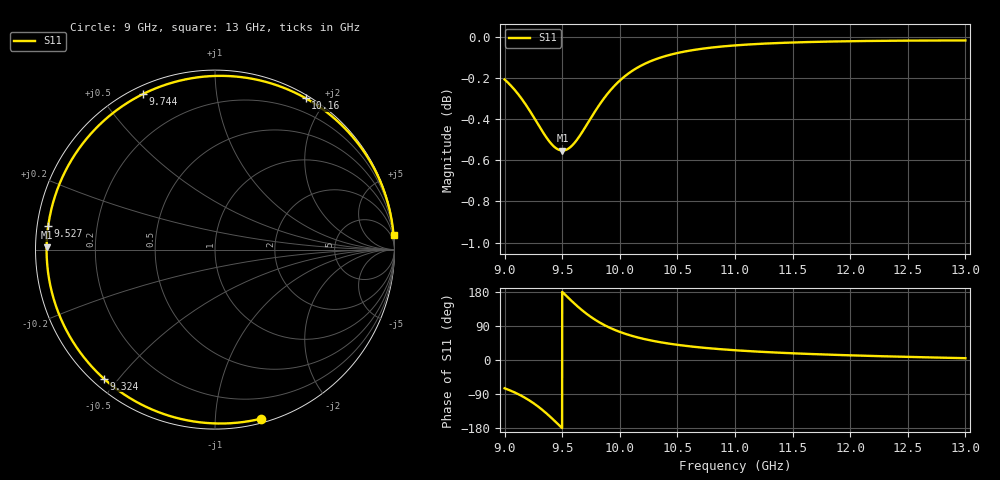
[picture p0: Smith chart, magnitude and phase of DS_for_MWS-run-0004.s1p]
! TOUCHSTONE file generated by CST DESIGN STUDIO
! Date and time: Tue Feb  4 12:56:05 2025
! Project name: C:\Work\MatlabApps\UnitCellOptimizationMatlab\CST\unitcell.cst
! Tree item: Tasks\Sweep1\SPara1\S-Parameters
! Header version: 2024
! Port assignment regex: !\s*Touchstone port\s*([0-9]+)\s*=\s*(CST MWS port|CST DES external port|CST DES block port)\s*(.+)\s* \(\"(.*)\"\)(\s*mode\s*([0-9]+))?.*
! Touchstone port assignment:
! Touchstone port 1 = CST DES external port 1 ("")
# GHz S MA R 50
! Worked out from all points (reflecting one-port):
!   4001 points, 9 GHz to 13 GHz, reference 50 ohm
!   lowest |S11| = -0.6 dB at 9.502 GHz (marker M1), VSWR 31.45, Z = 1.59 + j0.315 ohm
!   phase of S11 starts at -75 deg and turns -281 deg over the sweep
!   S11 on the Smith chart (normalised r, x): 9 GHz: 0.03, -1.31; 9.324 GHz: 0.03, -0.46; 9.527 GHz: 0.03, +0.07; 9.744 GHz: 0.03, +0.64; 10.16 GHz: 0.03, +1.76; 13 GHz: 1, +24
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9  0.9765 -74.6
9.085  0.971 -85.3
9.187  0.9625 -101.5
9.258  0.9556 -115.5
9.324  0.9489 -130.8
9.371  0.9446 -142.9
9.42  0.941 -156.5
9.461  0.9391 -168.5
9.5  0.9384 179.9
9.502  0.9384 179.3
9.527  0.9386 171.8
9.58  0.9407 156.3
9.64  0.9451 139.7
9.691  0.9498 126.8
9.744  0.9551 114.7
9.796  0.9602 104.3
9.854  0.9655 94.1
9.926  0.9711 83.3
10  0.9759 74.1
10.161  0.9832 59.1
10.315  0.9877 48.9
10.5  0.991 40.1
10.722  0.9935 32.5
11  0.9953 25.7
11.5  0.9969 17.7
12  0.9976 12.3
12.5  0.9979 8.2
13  0.998 4.8
